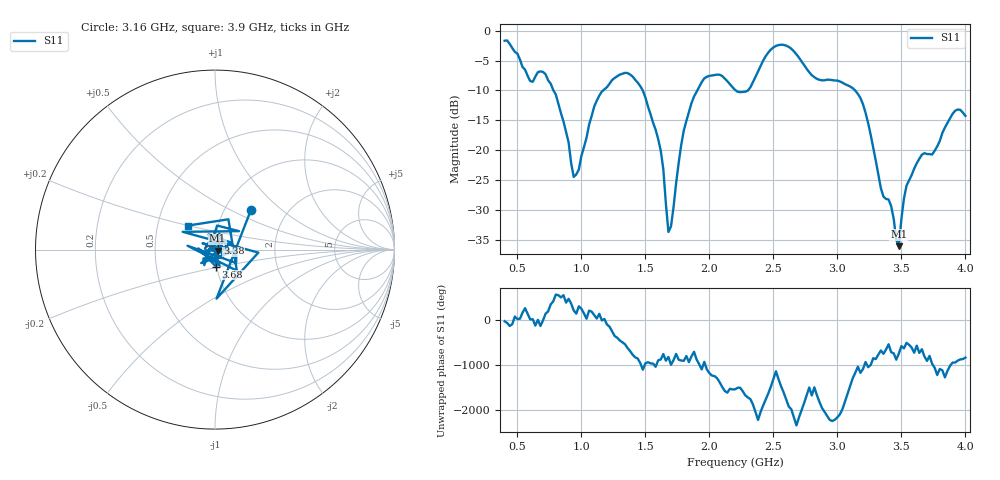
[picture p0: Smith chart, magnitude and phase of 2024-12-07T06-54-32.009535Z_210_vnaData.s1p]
!Created with skrf (http://scikit-rf.org).
# Hz S RI R 50.0
!freq ReS11 ImS11
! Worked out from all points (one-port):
!   181 points, 400 MHz to 4 GHz, reference 50 ohm
!   lowest |S11| = -36.1 dB at 3.48 GHz (marker M1), VSWR 1.03, Z = 51.5 - j0.592 ohm
!   |S11| at or under -10 dB: 781.7 MHz to 1.17 GHz (388.5 MHz wide, 39.8 % of centre); 1.48 GHz to 1.906 GHz (426.1 MHz wide, 25.2 % of centre); 3.139 GHz to end of sweep (the widest 3 of 4)
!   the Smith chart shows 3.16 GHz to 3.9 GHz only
!   S11 on the Smith chart (normalised r, x): 3.16 GHz: 1.32, +0.63; 3.38 GHz: 1.03, +0.07; 3.68 GHz: 0.99, -0.19; 3.9 GHz: 0.72, +0.20
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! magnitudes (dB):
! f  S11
! 400 MHz  -1.7
! 600 MHz  -8.4
! 720 MHz  -7.3
! 860 MHz  -15.2
! 940 MHz  -24.5
! 1.12 GHz  -11.7
! 1.3 GHz  -7.3
! 1.46 GHz  -9.3
! 1.58 GHz  -16.6
! 1.64 GHz  -23.2
! 1.68 GHz  -33.7
! 1.76 GHz  -22.1
! 1.86 GHz  -12.1
! 1.96 GHz  -8.0
! 2.2 GHz  -9.9
! 2.3 GHz  -10.0
! 2.5 GHz  -2.8
! 2.66 GHz  -3.5
! 2.84 GHz  -8.1
! 3.1 GHz  -9.4
! 3.16 GHz  -10.6
! 3.38 GHz  -28.2
! 3.48 GHz  -36.1
! 3.52 GHz  -28.1
! 3.56 GHz  -25.1
! 3.68 GHz  -20.5
! 3.9 GHz  -13.9
! 4 GHz  -14.3
